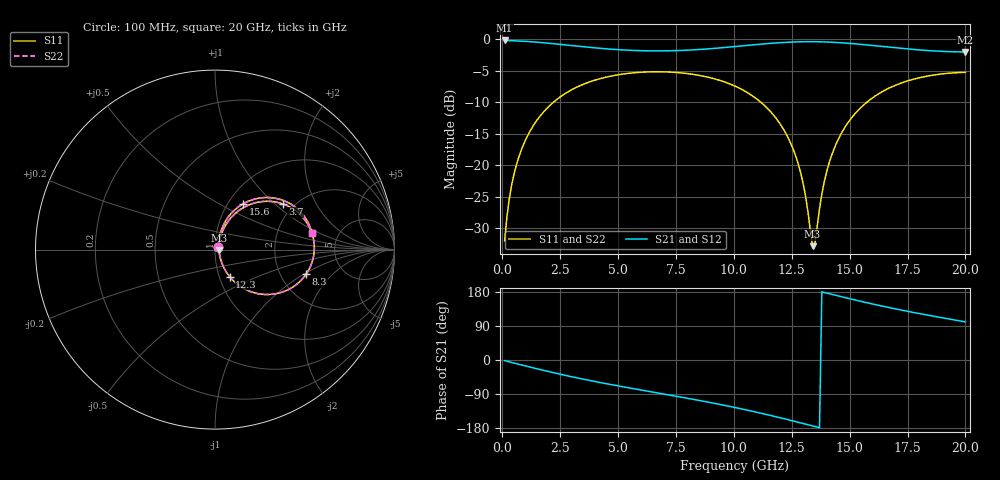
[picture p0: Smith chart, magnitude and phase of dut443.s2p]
! Touchstone file exported from HFSS 2026.1.0
!  File:  C:/ffzhzh/LocalFiles/Ansys_Project_Files/temp_train_TSV_RDL_443_1783098936_46604.aedt
!  Generated:  01:27:28 AM Jul  4, 2026
!  Design:  TSV_RDL
!  Project:  temp_train_TSV_RDL_443_1783098936_46604
! Variables:
!  h_bsmrdl = 2.92um
!  h_ox = 20um
!  h_rdl = 5um
!  h_sub = 79.45um
!  h_tmrdl = 4.36um
!  h_tsv = 79.45um
!  h_via = 3um
!  l_bsmrdl = 756.48um
!  l_sub = 4346.23um
!  l_tmrdl = 385.44um
!  m_sub = 200um
!  pitch = 58.45um
!  r_tsv = 11.49um
!  s_tmrdl = 10um
!  w_bsmrdl = 27.32um
!  w_sub = 500um
!  w_tmrdl = 17.69um
!  x_tsv_center1 = 394.285um
!  x_tsv_center2 = 1178.085um
!  x_tsv_center3 = 1581.215um
!  x_tsv_center4 = 2365.015um
!  x_tsv_center5 = 2768.145um
!  x_tsv_center6 = 3551.945um
# GHz S MA R 50.000000
! Terminal data exported
! Port[1] = TM_RDL1_1_T1
! Port[2] = TM_RDL5_1_T1
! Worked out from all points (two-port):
!   200 points, 100 MHz to 20 GHz, reference 50 ohm
!   highest |S21| = -0.16 dB at 100 MHz (marker M1); lowest = -2.0 dB at 20 GHz (marker M2)
!   |S21| within 3 dB of the highest: start of sweep to end of sweep
!   lowest |S11| = -32.9 dB at 13.4 GHz (marker M3), VSWR 1.05, Z = 52.3 - j0.461 ohm
!   |S11| at or under -10 dB: start of sweep to 2.203 GHz; 11.17 GHz to 15.74 GHz (4.568 GHz wide, 34 % of centre)
!   |S22| runs from -33.0 to -5.1 dB; largest |S21 - S12| = 1.7e-14
!   S11 on the Smith chart (normalised r, x): 100 MHz: 1.04, +0.03; 3.7 GHz: 1.75, +1.12; 8.3 GHz: 2.77, -1.05; 12.3 GHz: 1.12, -0.35; 15.6 GHz: 1.17, +0.66; 20 GHz: 3.19, +0.82
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0.1  0.02495 41.8  0.9817 -1.7  0.9817 -1.7  0.02495 41.8
! Gamma 0 0 0 0
! Port Impedance 50 0 50 0
0.3  0.05383 63.6  0.979 -4.9  0.979 -4.9  0.05383 63.6
0.5  0.08407 67.5  0.9756 -8.0  0.9756 -8.0  0.08407 67.5
1.1  0.1725 65.2  0.9626 -17.3  0.9626 -17.3  0.1725 65.2
2.1  0.3042 53.7  0.9296 -32.0  0.9296 -32.0  0.3042 53.7
3.5  0.4401 36.5  0.875 -50.6  0.875 -50.6  0.4401 36.5
3.7  0.4547 34.1  0.8677 -53.1  0.8677 -53.1  0.4547 34.1
6.8  0.5535 0.6  0.8108 -87.9  0.8108 -87.9  0.5535 0.6
8.3  0.5257 -15.2  0.8275 -104.4  0.8275 -104.4  0.5257 -15.2
10.1  0.4213 -35.6  0.8797 -126.0  0.8797 -126.0  0.4214 -35.6
11.4  0.2894 -51.5  0.9253 -143.7  0.9253 -143.7  0.2894 -51.5
12.3  0.1714 -61.5  0.9496 -156.9  0.9496 -156.9  0.1714 -61.6
12.9  0.08495 -62.9  0.9585 -166.1  0.9585 -166.1  0.08496 -63.1
13.1  0.05629 -58.0  0.9598 -169.2  0.9598 -169.2  0.05627 -58.2
13.4  0.0227 -11.2  0.9601 -173.9  0.9601 -173.9  0.02251 -11.5
13.5  0.02364 25.6  0.9597 -175.5  0.9597 -175.5  0.02342 25.7
13.8  0.05884 66.8  0.9574 179.9  0.9574 179.9  0.05869 66.9
14.2  0.1164 71.7  0.9513 173.7  0.9513 173.7  0.1162 71.8
14.8  0.2004 67.5  0.9366 164.7  0.9366 164.7  0.2003 67.5
15.6  0.3007 58.3  0.9098 153.1  0.9098 153.1  0.3006 58.3
16.7  0.4099 45.1  0.8682 138.4  0.8682 138.4  0.4099 45.1
20  0.5475 9.5  0.7947 100.5  0.7947 100.5  0.5475 9.5
